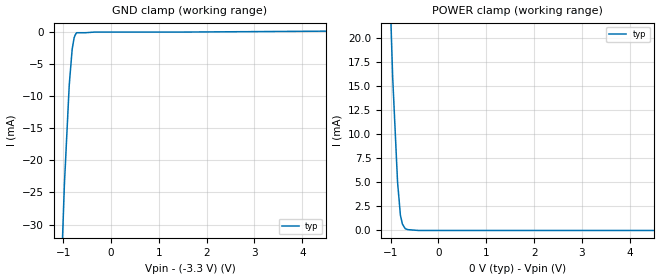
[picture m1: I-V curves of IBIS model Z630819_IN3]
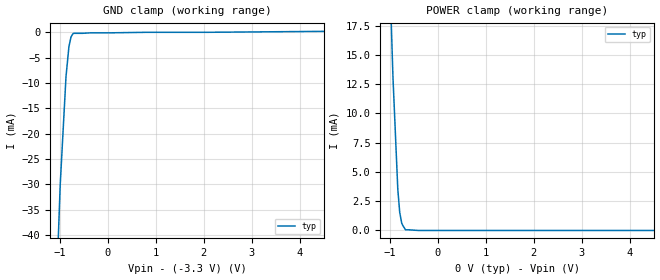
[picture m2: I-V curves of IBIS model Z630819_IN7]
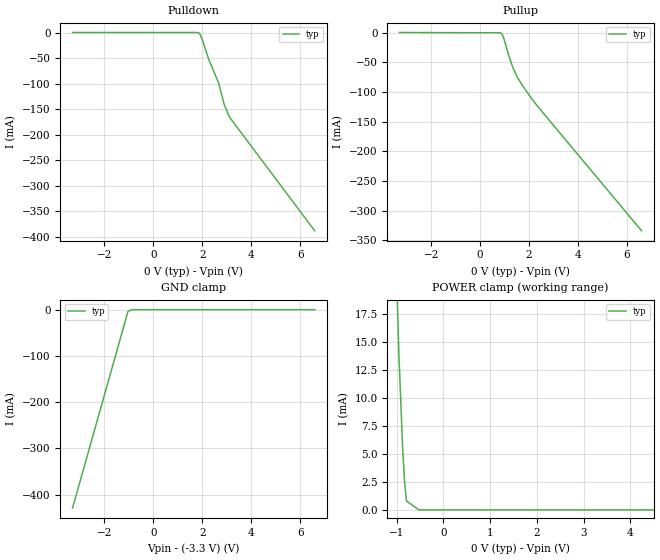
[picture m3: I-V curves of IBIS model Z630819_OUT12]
| YOU ARE ONLY AUTHORIZED TO USE THIS SOFTWARE
| ACCORDING TO LICENSOR'S LICENSE RESTRICTIONS.
[IBIS Ver] 3.1
[File Name] nb100lvep17mn_-33.ibs
[File Rev] 2
[Source] Derived from mc100lvep210fa_33.ibs
|   Measured and created by ICX Technology
[Date] 2/25/2004
[Copyright]
| (C) COPYRIGHT 1993-2000
| MENTOR GRAPHICS CORPORATION
| ICX STANDARD LIBRARY, ICX PROJECT MODELING,
| ICX CUSTOM MODELING, ICX VENDOR MODEL
| ALL RIGHTS RESERVED.
| THE FOLLOWING ARE TRADEMARKS OR SERVICE MARKS OF
| MENTOR GRAPHICS CORPORATION:ICX (R), ICX STANDARD
| LIBRARY(R), ICX PROJECT MODELING(R), ICX CUSTOM
| MODELING(R), qualityIBIS(TM), MODELVIEWER(TM),
| AND MODELEDITOR(TM)
| ALL COPIES OF SOFTWARE, INCLUDING BUT NOT LIMITED TO
| ANY MODIFICATIONS, ENHANCEMENTS OR DERIVATIVE WORKS,
| MUST CONTAIN ALL MENTOR GRAPHICS CORPORATION'S
| NOTICES AND LEGENDS, INCLUDING THOSE EMBEDDED IN
| SOFTWARE AND THOSE AFFIXED TO SOFTWARE MEDIUM
| AND CONTAINER, AS RECEIVED FROM MENTOR GRAPHICS
| CORPORATION.
|  ZAP Model Builder 2.8
[Component] NB100LVEP17MN_-33
[Manufacturer] ON
[Package]
| variable   typ   min   max
R_pkg  0.055ohms NA NA
L_pkg  1.22nH NA NA
C_pkg  .0493pF NA NA
[Pin] signal_name  model_name  R_pin  L_pin C_pin
1  D0  Z630819_IN3
2  _D0 Z630819_IN7
3  D1  Z630819_IN3
4  _D1 Z630819_IN7
5  D2  Z630819_IN3
6  _D2 Z630819_IN7
7  D3  Z630819_IN3
8  _D3 Z630819_IN7
9  VBB POWER
10 VEE GND
11 _Q3 Z630819_OUT13
12 Q3  Z630819_OUT12
13 VCC POWER
14 _Q2 Z630819_OUT13
15 Q2  Z630819_OUT12
16 _Q1 Z630819_OUT13
17 Q1  Z630819_OUT12
18 VCC POWER
19 _Q0 Z630819_OUT13
20 Q0  Z630819_OUT12
21 VCC POWER
22 VCC POWER
23 VCC POWER
24 NC NC
[Diff Pin] inv_pin vdiff tdelay_typ tdelay_min tdelay_max
1 2 150mv NA NA NA
3 4 150mv NA NA NA
5 6 150mv NA NA NA
7 8 150mv NA NA NA
12 11 NA .250ns .200ns .325ns
15 14 NA .250ns .200ns .325ns
17 16 NA .250ns .200ns .325ns
20 19 NA .250ns .200ns .325ns
| Models and submodels in the file (4): Z630819_IN3 (Input_ECL), Z630819_IN7 (Input_ECL), Z630819_OUT12 (Output_ECL), Z630819_OUT13 (Output_ECL)
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| (C) COPYRIGHT 1993-2000
| MENTOR GRAPHICS CORPORATION
| ICX STANDARD LIBRARY, ICX PROJECT MODELING,
| ICX CUSTOM MODELING, ICX VENDOR MODEL
| ALL RIGHTS RESERVED.
| THE FOLLOWING ARE TRADEMARKS OR SERVICE MARKS OF
| MENTOR GRAPHICS CORPORATION:ICX (R), ICX STANDARD
| LIBRARY(R), ICX PROJECT MODELING(R), ICX CUSTOM
| MODELING(R), qualityIBIS(TM), MODELVIEWER(TM),
| AND MODELEDITOR(TM)
| ALL COPIES OF SOFTWARE, INCLUDING BUT NOT LIMITED TO
| ANY MODIFICATIONS, ENHANCEMENTS OR DERIVATIVE WORKS,
| MUST CONTAIN ALL MENTOR GRAPHICS CORPORATION'S
| NOTICES AND LEGENDS, INCLUDING THOSE EMBEDDED IN
| SOFTWARE AND THOSE AFFIXED TO SOFTWARE MEDIUM
| AND CONTAINER, AS RECEIVED FROM MENTOR GRAPHICS
| CORPORATION.
| Model Application Version 1.89 2/18/99.
[Model] Z630819_IN3
Model_type Input_ECL
Vinl = -1.545V
Vinh = -1.145V
C_comp 2.000pF NA NA
| variable typ   min   max
[Voltage Range] -3.300V NA NA
[GND Clamp Reference] -3.3000V NA NA
[POWER Clamp Reference] 0.000V NA NA
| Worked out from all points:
|   GND clamp passes 1 mA (typ) near -0.77 V on its own axis
|   POWER clamp passes 1 mA (typ) near -0.77 V on its own axis
[GND Clamp]
-3.3V     -625.8mA   NA         NA
-1.095V   -49.9mA    NA         NA
-973mV    -23.8mA    NA         NA
-872mV    -8.3mA     NA         NA
-811mV    -2.7mA     NA         NA
-770mV    -900uA     NA         NA
-750mV    -500uA     NA         NA
-719.8mV  -100uA     NA         NA
-532.3mV  -100uA     NA         NA
-344.8mV  0A         NA         NA
1.449V    0A         NA         NA
6.6V      243.2uA    NA         NA
[POWER Clamp]
-3.3V     386.1mA    NA         NA
-957mV    15.97mA    NA         NA
-855mV    5.072mA    NA         NA
-795mV    1.575mA    NA         NA
-754mV    677uA      NA         NA
-693mV    179.9uA    NA         NA
-632mV    82.77uA    NA         NA
-421.3mV  0A         NA         NA
6.6V      0A         NA         NA
| (C) COPYRIGHT 1993-2000
| MENTOR GRAPHICS CORPORATION
| ICX STANDARD LIBRARY, ICX PROJECT MODELING,
| ICX CUSTOM MODELING, ICX VENDOR MODEL
| ALL RIGHTS RESERVED.
| THE FOLLOWING ARE TRADEMARKS OR SERVICE MARKS OF
| MENTOR GRAPHICS CORPORATION:ICX (R), ICX STANDARD
| LIBRARY(R), ICX PROJECT MODELING(R), ICX CUSTOM
| MODELING(R), qualityIBIS(TM), MODELVIEWER(TM),
| AND MODELEDITOR(TM)
| ALL COPIES OF SOFTWARE, INCLUDING BUT NOT LIMITED TO
| ANY MODIFICATIONS, ENHANCEMENTS OR DERIVATIVE WORKS,
| MUST CONTAIN ALL MENTOR GRAPHICS CORPORATION'S
| NOTICES AND LEGENDS, INCLUDING THOSE EMBEDDED IN
| SOFTWARE AND THOSE AFFIXED TO SOFTWARE MEDIUM
| AND CONTAINER, AS RECEIVED FROM MENTOR GRAPHICS
| CORPORATION.
| Model Application Version 1.89 2/18/99.
[Model] Z630819_IN7
Model_type Input_ECL
Vinl = -1.545V
Vinh = -1.145V
C_comp 2.000pF NA NA
| variable typ   min   max
[Voltage Range] -3.300V NA NA
[GND Clamp Reference] -3.3000V NA NA
[POWER Clamp Reference] 0.000V NA NA
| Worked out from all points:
|   GND clamp passes 1 mA (typ) near -0.77 V on its own axis
|   POWER clamp passes 1 mA (typ) near -0.77 V on its own axis
[GND Clamp]
-3.3V     -767.5mA   NA         NA
-1.115V   -62.2mA    NA         NA
-993mV    -30.1mA    NA         NA
-872mV    -8.7mA     NA         NA
-811mV    -2.8mA     NA         NA
-770mV    -1mA       NA         NA
-719.8mV  -200uA     NA         NA
6.6V      353.3uA    NA         NA
[POWER Clamp]
-3.3V     388mA      NA         NA
-1.038V   26.52mA    NA         NA
-936mV    13.13mA    NA         NA
-835mV    3.54mA     NA         NA
-795mV    1.543mA    NA         NA
-754mV    646uA      NA         NA
-734mV    447.6uA    NA         NA
-673mV    57.17uA    NA         NA
-612mV    57.17uA    NA         NA
-408mV    0A         NA         NA
6.6V      0A         NA         NA
| (C) COPYRIGHT 1993-2000
| MENTOR GRAPHICS CORPORATION
| ICX STANDARD LIBRARY, ICX PROJECT MODELING,
| ICX CUSTOM MODELING, ICX VENDOR MODEL
| ALL RIGHTS RESERVED.
| THE FOLLOWING ARE TRADEMARKS OR SERVICE MARKS OF
| MENTOR GRAPHICS CORPORATION:ICX (R), ICX STANDARD
| LIBRARY(R), ICX PROJECT MODELING(R), ICX CUSTOM
| MODELING(R), qualityIBIS(TM), MODELVIEWER(TM),
| AND MODELEDITOR(TM)
| ALL COPIES OF SOFTWARE, INCLUDING BUT NOT LIMITED TO
| ANY MODIFICATIONS, ENHANCEMENTS OR DERIVATIVE WORKS,
| MUST CONTAIN ALL MENTOR GRAPHICS CORPORATION'S
| NOTICES AND LEGENDS, INCLUDING THOSE EMBEDDED IN
| SOFTWARE AND THOSE AFFIXED TO SOFTWARE MEDIUM
| AND CONTAINER, AS RECEIVED FROM MENTOR GRAPHICS
| CORPORATION.
| Model Application Version 1.89 2/18/99.
[Model] Z630819_OUT12
Model_type Output_ECL
Vref=-2.0V
Rref=50.00ohms
Cref=0.000F
Vmeas=-1.345V
C_comp 2.000pF NA NA
| variable typ   min   max
[Voltage Range] -3.300V NA NA
[POWER Clamp Reference] 0.000V NA NA
[Pullup Reference] 0.000V NA NA
[Pulldown Reference] 0.000V NA NA
[GND Clamp Reference] -3.300V NA NA
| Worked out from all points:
|   GND clamp passes 1 mA (typ) near -0.91 V on its own axis
|   POWER clamp passes 1 mA (typ) near -0.79 V on its own axis
[GND Clamp]
-3.3V     -429.1mA   NA         NA
-1.034V   -3.713mA   NA         NA
-861.7mV  0A         NA         NA
6.6V      0A         NA         NA
[Pulldown]
-3.3V     0A         NA         NA
1.78V     0A         NA         NA
1.841V    -400uA     NA         NA
1.861V    -800uA     NA         NA
1.901V    -2.6mA     NA         NA
2.003V    -14.2mA    NA         NA
2.266V    -52.5mA    NA         NA
2.672V    -99.2mA    NA         NA
2.895V    -140.5mA   NA         NA
3.057V    -159.9mA   NA         NA
3.158V    -168.7mA   NA         NA
6.6V      -388.8mA   NA         NA
[Pullup]
-3.3V     450.5uA    NA         NA
852mV     -600uA     NA         NA
893mV     -2.1mA     NA         NA
954mV     -7.6mA     NA         NA
1.156V    -36.7mA    NA         NA
1.318V    -56.6mA    NA         NA
1.46V     -70.2mA    NA         NA
1.744V    -90mA      NA         NA
2.109V    -111.4mA   NA         NA
6.6V      -334.3mA   NA         NA
[POWER Clamp]
-3.3V     399.1mA    NA         NA
-1.073V   30.65mA    NA         NA
-952mV    13.87mA    NA         NA
-871mV    5.378mA    NA         NA
-830mV    2.484mA    NA         NA
-790mV    788.9uA    NA         NA
-526.7mV  0A         NA         NA
6.6V      0A         NA         NA
[Ramp]
| variable typ min max
dV/dt_r 479.4m/193.4p NA NA
dV/dt_f 479.4m/159.7p NA NA
R_load = 50.00Ohms
